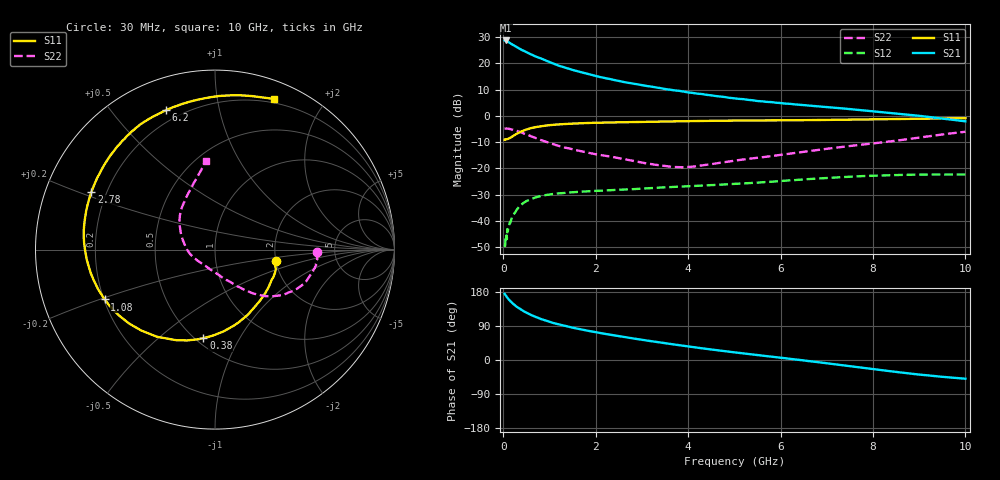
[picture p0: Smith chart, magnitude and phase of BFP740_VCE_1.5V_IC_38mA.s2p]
! Infineon Technologies  Discrete & RF Semiconductors
! BFP740
! VCE =  1.5 V,  IC =  38 mA
! Common Emitter S-Parameters:  Jan 2016
# GHz  S  MA  R  50
!  f  S11  S21  S12  S22
! GHz  MAG  ANG  MAG  ANG  MAG  ANG  MAG  ANG
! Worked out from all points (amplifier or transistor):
!   229 points, 30 MHz to 10 GHz, reference 50 ohm
!   highest |S21| = 28.7 dB at 50 MHz (marker M1)
!   |S21| within 3 dB of that: start of sweep to 345 MHz
!   unconditionally stable (mu >= 1): start of sweep to 252.3 MHz; 2.005 GHz to end of sweep
!   at 280 MHz: K = 0.95, MSG = 31.2 dB, |S12| = -36.1 dB
!   at 1.78 GHz: K = 0.94, MSG = 22.5 dB, |S12| = -28.8 dB
!   at 10 GHz: K = 1.51, MAG = 5.9 dB, |S12| = -22.3 dB
!   S11 on the Smith chart (normalised r, x): 30 MHz: 2.01, -0.30; 380 MHz: 0.55, -0.72; 1.08 GHz: 0.20, -0.21; 2.78 GHz: 0.14, +0.22; 6.2 GHz: 0.15, +0.70; 10 GHz: 0.16, +1.45
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0.03  0.3484 -10.8  27.14 174.8  0.0035 49.5  0.5677 -1.3
0.04  0.3464 -14.6  26.77 173.1  0.0033 35.9  0.5694 -2.5
0.05  0.3563 -18.0  27.19 171.4  0.0045 41.8  0.573 -3.6
0.08  0.3582 -28.0  26.22 165.9  0.0045 57.8  0.569 -6.0
0.12  0.3707 -41.0  25.18 159.8  0.0076 58.1  0.5657 -9.8
0.2  0.4061 -63.0  22.68 149.7  0.0124 61.2  0.5461 -16.4
0.3  0.4584 -84.1  20.16 139.9  0.0166 55.2  0.5155 -23.7
0.38  0.4971 -97.5  18.42 133.4  0.02 52.7  0.4853 -28.8
0.5  0.5488 -113.1  16.29 124.9  0.0238 47.4  0.4431 -35.2
0.7  0.6098 -132.3  13.47 113.5  0.028 39.7  0.3781 -43.2
0.9  0.6494 -145.8  11.54 104.5  0.0308 34.6  0.3252 -48.9
1.08  0.6741 -155.7  9.936 97.9  0.0324 30.8  0.2869 -52.6
1.32  0.6975 -166.2  8.362 90.3  0.034 27.7  0.2503 -56.9
1.7  0.7229 -179.1  6.715 80.3  0.036 24.4  0.2108 -62.8
2.2  0.7438 167.7  5.208 69.0  0.038 22.0  0.1741 -71.4
2.78  0.7599 155.1  4.14 57.4  0.0401 20.9  0.1405 -82.8
3.4  0.7754 143.5  3.369 46.1  0.0431 19.6  0.1137 -104.0
5.1  0.8129 119.6  2.101 18.8  0.0511 16.7  0.1438 -172.1
6.2  0.8223 109.4  1.692 3.3  0.0591 13.9  0.1901 162.2
6.8  0.8313 103.1  1.516 -5.5  0.0638 10.3  0.2232 150.1
8.4  0.8661 83.3  1.125 -29.9  0.0742 -1.8  0.3276 119.9
10  0.9012 68.7  0.786 -49.4  0.0764 -12.8  0.4974 96.1
